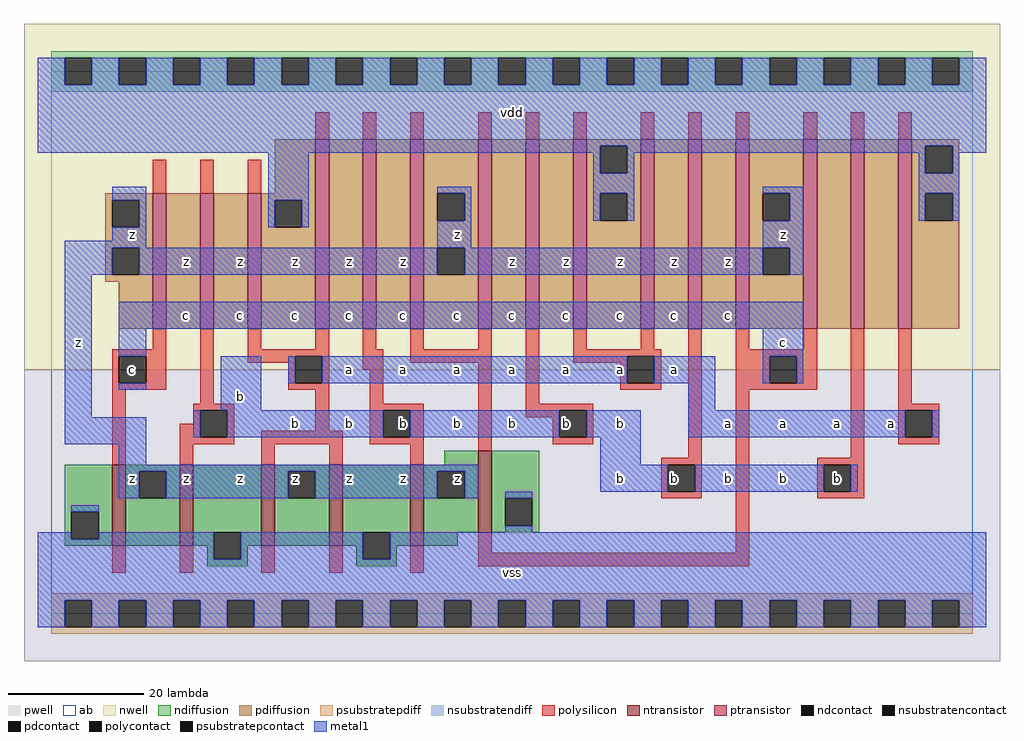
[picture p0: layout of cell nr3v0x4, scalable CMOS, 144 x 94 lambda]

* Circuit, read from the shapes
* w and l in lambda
.subckt nr3v0x4 a b c vdd vss z
M1 z c vss vss nfet w=12 l=2 m=2
M2 vss b z vss nfet w=12 l=2 m=2
M3 z a vss vss nfet w=12 l=2 m=2
M4 n1 c z vdd pfet w=20 l=2
M5 n2 b n1 vdd pfet w=20 l=2
M6 vdd a n2 vdd pfet w=20 l=2
M7 n3 a vdd vdd pfet w=28 l=2
M8 n4 b n3 vdd pfet w=28 l=2
M9 z c n4 vdd pfet w=28 l=2
M10 n5 c z vdd pfet w=28 l=2
M11 n6 b n5 vdd pfet w=28 l=2
M12 vdd a n6 vdd pfet w=28 l=2
M13 n7 a vdd vdd pfet w=28 l=2
M14 n8 b n7 vdd pfet w=28 l=2
M15 z c n8 vdd pfet w=28 l=2
M16 n9 c z vdd pfet w=28 l=2
M17 n10 b n9 vdd pfet w=28 l=2
M18 vdd a n10 vdd pfet w=28 l=2
.ends

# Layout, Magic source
magic
tech scmos
<< ab >>
rect 0 0 136 80
<< pwell >>
rect -4 -7 140 36
<< nwell >>
rect -4 36 140 87
<< polysilicon >>
rect 39 70 41 74
rect 46 70 48 74
rect 53 70 55 74
rect 63 70 65 74
rect 70 70 72 74
rect 77 70 79 74
rect 87 70 89 74
rect 94 70 96 74
rect 101 70 103 74
rect 111 70 113 74
rect 118 70 120 74
rect 125 70 127 74
rect 15 62 17 67
rect 22 62 24 67
rect 29 62 31 67
rect 15 39 17 42
rect 9 38 17 39
rect 9 34 10 38
rect 14 34 17 38
rect 9 33 17 34
rect 9 22 11 33
rect 22 31 24 42
rect 29 39 31 42
rect 39 39 41 42
rect 29 38 41 39
rect 29 37 36 38
rect 35 34 36 37
rect 40 34 41 38
rect 46 39 48 42
rect 53 39 55 42
rect 63 39 65 42
rect 46 36 49 39
rect 53 37 65 39
rect 35 33 41 34
rect 21 30 27 31
rect 21 28 22 30
rect 19 26 22 28
rect 26 26 27 30
rect 39 27 41 33
rect 47 31 49 36
rect 47 30 55 31
rect 19 25 27 26
rect 31 25 43 27
rect 47 26 49 30
rect 53 26 55 30
rect 47 25 55 26
rect 19 22 21 25
rect 31 22 33 25
rect 41 22 43 25
rect 53 22 55 25
rect 63 24 65 37
rect 70 31 72 42
rect 77 39 79 42
rect 87 39 89 42
rect 77 38 90 39
rect 77 37 85 38
rect 84 34 85 37
rect 89 34 90 38
rect 84 33 90 34
rect 70 30 80 31
rect 70 29 75 30
rect 74 26 75 29
rect 79 26 80 30
rect 74 25 80 26
rect 9 6 11 10
rect 19 6 21 10
rect 31 6 33 10
rect 41 6 43 10
rect 94 23 96 42
rect 90 22 96 23
rect 90 18 91 22
rect 95 18 96 22
rect 90 17 96 18
rect 101 39 103 42
rect 111 39 113 42
rect 101 38 113 39
rect 101 34 106 38
rect 110 34 113 38
rect 101 33 113 34
rect 53 6 55 10
rect 63 9 65 12
rect 101 9 103 33
rect 118 23 120 42
rect 125 31 127 42
rect 125 30 131 31
rect 125 26 126 30
rect 130 26 131 30
rect 125 25 131 26
rect 113 22 120 23
rect 113 18 114 22
rect 118 18 120 22
rect 113 17 120 18
rect 63 7 103 9
<< ndiffusion >>
rect 58 22 63 24
rect 2 15 9 22
rect 2 11 3 15
rect 7 11 9 15
rect 2 10 9 11
rect 11 21 19 22
rect 11 17 13 21
rect 17 17 19 21
rect 11 10 19 17
rect 21 12 31 22
rect 21 10 24 12
rect 23 8 24 10
rect 28 10 31 12
rect 33 21 41 22
rect 33 17 35 21
rect 39 17 41 21
rect 33 10 41 17
rect 43 12 53 22
rect 43 10 46 12
rect 28 8 29 10
rect 23 7 29 8
rect 45 8 46 10
rect 50 10 53 12
rect 55 21 63 22
rect 55 17 57 21
rect 61 17 63 21
rect 55 12 63 17
rect 65 17 72 24
rect 65 13 67 17
rect 71 13 72 17
rect 65 12 72 13
rect 55 10 60 12
rect 50 8 51 10
rect 45 7 51 8
<< pdiffusion >>
rect 33 62 39 70
rect 8 61 15 62
rect 8 57 9 61
rect 13 57 15 61
rect 8 54 15 57
rect 8 50 9 54
rect 13 50 15 54
rect 8 49 15 50
rect 10 42 15 49
rect 17 42 22 62
rect 24 42 29 62
rect 31 61 39 62
rect 31 57 33 61
rect 37 57 39 61
rect 31 42 39 57
rect 41 42 46 70
rect 48 42 53 70
rect 55 62 63 70
rect 55 58 57 62
rect 61 58 63 62
rect 55 54 63 58
rect 55 50 57 54
rect 61 50 63 54
rect 55 42 63 50
rect 65 42 70 70
rect 72 42 77 70
rect 79 69 87 70
rect 79 65 81 69
rect 85 65 87 69
rect 79 62 87 65
rect 79 58 81 62
rect 85 58 87 62
rect 79 42 87 58
rect 89 42 94 70
rect 96 42 101 70
rect 103 62 111 70
rect 103 58 105 62
rect 109 58 111 62
rect 103 54 111 58
rect 103 50 105 54
rect 109 50 111 54
rect 103 42 111 50
rect 113 42 118 70
rect 120 42 125 70
rect 127 69 134 70
rect 127 65 129 69
rect 133 65 134 69
rect 127 62 134 65
rect 127 58 129 62
rect 133 58 134 62
rect 127 42 134 58
<< metal1 >>
rect -2 78 2 82
rect 6 78 10 82
rect 14 78 18 82
rect 22 78 26 82
rect 30 78 34 82
rect 38 78 42 82
rect 46 78 50 82
rect 54 78 58 82
rect 62 78 66 82
rect 70 78 74 82
rect 78 78 82 82
rect 86 78 90 82
rect 94 78 98 82
rect 102 78 106 82
rect 110 78 114 82
rect 118 78 122 82
rect 126 78 130 82
rect 134 78 138 82
rect -2 69 138 78
rect -2 68 81 69
rect 9 61 14 63
rect 13 57 14 61
rect 32 61 38 68
rect 80 65 81 68
rect 85 68 129 69
rect 85 65 86 68
rect 32 57 33 61
rect 37 57 38 61
rect 57 62 62 63
rect 61 58 62 62
rect 80 62 86 65
rect 128 65 129 68
rect 133 68 138 69
rect 133 65 134 68
rect 80 58 81 62
rect 85 58 86 62
rect 105 62 111 63
rect 109 58 111 62
rect 128 62 134 65
rect 128 58 129 62
rect 133 58 134 62
rect 9 55 14 57
rect 2 54 14 55
rect 57 54 62 58
rect 105 54 111 58
rect 2 50 9 54
rect 13 50 57 54
rect 61 50 105 54
rect 109 50 111 54
rect 2 29 6 50
rect 10 42 111 46
rect 10 38 14 42
rect 105 38 111 42
rect 10 33 14 34
rect 25 30 31 38
rect 35 34 36 38
rect 40 34 85 38
rect 89 34 98 38
rect 105 34 106 38
rect 110 34 111 38
rect 94 30 98 34
rect 2 25 14 29
rect 21 26 22 30
rect 26 26 49 30
rect 53 26 75 30
rect 79 26 87 30
rect 94 26 126 30
rect 130 26 131 30
rect 10 22 14 25
rect 81 22 87 26
rect 10 21 63 22
rect 10 17 13 21
rect 17 17 35 21
rect 39 17 57 21
rect 61 17 63 21
rect 81 18 91 22
rect 95 18 114 22
rect 118 18 119 22
rect 67 17 71 18
rect 3 15 7 16
rect -2 11 3 12
rect 67 12 71 13
rect 7 11 24 12
rect -2 8 24 11
rect 28 8 46 12
rect 50 8 138 12
rect -2 2 138 8
rect -2 -2 2 2
rect 6 -2 10 2
rect 14 -2 18 2
rect 22 -2 26 2
rect 30 -2 34 2
rect 38 -2 42 2
rect 46 -2 50 2
rect 54 -2 58 2
rect 62 -2 66 2
rect 70 -2 74 2
rect 78 -2 82 2
rect 86 -2 90 2
rect 94 -2 98 2
rect 102 -2 106 2
rect 110 -2 114 2
rect 118 -2 122 2
rect 126 -2 130 2
rect 134 -2 138 2
<< ntransistor >>
rect 9 10 11 22
rect 19 10 21 22
rect 31 10 33 22
rect 41 10 43 22
rect 53 10 55 22
rect 63 12 65 24
<< ptransistor >>
rect 15 42 17 62
rect 22 42 24 62
rect 29 42 31 62
rect 39 42 41 70
rect 46 42 48 70
rect 53 42 55 70
rect 63 42 65 70
rect 70 42 72 70
rect 77 42 79 70
rect 87 42 89 70
rect 94 42 96 70
rect 101 42 103 70
rect 111 42 113 70
rect 118 42 120 70
rect 125 42 127 70
<< polycontact >>
rect 10 34 14 38
rect 36 34 40 38
rect 22 26 26 30
rect 49 26 53 30
rect 85 34 89 38
rect 75 26 79 30
rect 91 18 95 22
rect 106 34 110 38
rect 126 26 130 30
rect 114 18 118 22
<< ndcontact >>
rect 3 11 7 15
rect 13 17 17 21
rect 24 8 28 12
rect 35 17 39 21
rect 46 8 50 12
rect 57 17 61 21
rect 67 13 71 17
<< pdcontact >>
rect 9 57 13 61
rect 9 50 13 54
rect 33 57 37 61
rect 57 58 61 62
rect 57 50 61 54
rect 81 65 85 69
rect 81 58 85 62
rect 105 58 109 62
rect 105 50 109 54
rect 129 65 133 69
rect 129 58 133 62
<< psubstratepcontact >>
rect 2 -2 6 2
rect 10 -2 14 2
rect 18 -2 22 2
rect 26 -2 30 2
rect 34 -2 38 2
rect 42 -2 46 2
rect 50 -2 54 2
rect 58 -2 62 2
rect 66 -2 70 2
rect 74 -2 78 2
rect 82 -2 86 2
rect 90 -2 94 2
rect 98 -2 102 2
rect 106 -2 110 2
rect 114 -2 118 2
rect 122 -2 126 2
rect 130 -2 134 2
<< nsubstratencontact >>
rect 2 78 6 82
rect 10 78 14 82
rect 18 78 22 82
rect 26 78 30 82
rect 34 78 38 82
rect 42 78 46 82
rect 50 78 54 82
rect 58 78 62 82
rect 66 78 70 82
rect 74 78 78 82
rect 82 78 86 82
rect 90 78 94 82
rect 98 78 102 82
rect 106 78 110 82
rect 114 78 118 82
rect 122 78 126 82
rect 130 78 134 82
<< psubstratepdiff >>
rect 0 2 136 3
rect 0 -2 2 2
rect 6 -2 10 2
rect 14 -2 18 2
rect 22 -2 26 2
rect 30 -2 34 2
rect 38 -2 42 2
rect 46 -2 50 2
rect 54 -2 58 2
rect 62 -2 66 2
rect 70 -2 74 2
rect 78 -2 82 2
rect 86 -2 90 2
rect 94 -2 98 2
rect 102 -2 106 2
rect 110 -2 114 2
rect 118 -2 122 2
rect 126 -2 130 2
rect 134 -2 136 2
rect 0 -3 136 -2
<< nsubstratendiff >>
rect 0 82 136 83
rect 0 78 2 82
rect 6 78 10 82
rect 14 78 18 82
rect 22 78 26 82
rect 30 78 34 82
rect 38 78 42 82
rect 46 78 50 82
rect 54 78 58 82
rect 62 78 66 82
rect 70 78 74 82
rect 78 78 82 82
rect 86 78 90 82
rect 94 78 98 82
rect 102 78 106 82
rect 110 78 114 82
rect 118 78 122 82
rect 126 78 130 82
rect 134 78 136 82
rect 0 77 136 78
<< labels >>
rlabel metal1 12 20 12 20 6 z
rlabel polycontact 12 36 12 36 6 c
rlabel metal1 4 40 4 40 6 z
rlabel metal1 12 56 12 56 6 z
rlabel metal1 20 20 20 20 6 z
rlabel metal1 28 20 28 20 6 z
rlabel ndcontact 36 20 36 20 6 z
rlabel metal1 36 28 36 28 6 b
rlabel metal1 28 32 28 32 6 b
rlabel metal1 28 44 28 44 6 c
rlabel metal1 36 44 36 44 6 c
rlabel metal1 20 44 20 44 6 c
rlabel metal1 20 52 20 52 6 z
rlabel metal1 28 52 28 52 6 z
rlabel metal1 36 52 36 52 6 z
rlabel metal1 44 20 44 20 6 z
rlabel metal1 52 20 52 20 6 z
rlabel ndcontact 60 20 60 20 6 z
rlabel polycontact 52 28 52 28 6 b
rlabel metal1 60 28 60 28 6 b
rlabel metal1 44 28 44 28 6 b
rlabel metal1 44 36 44 36 6 a
rlabel metal1 52 36 52 36 6 a
rlabel metal1 60 36 60 36 6 a
rlabel metal1 52 44 52 44 6 c
rlabel metal1 60 44 60 44 6 c
rlabel metal1 44 44 44 44 6 c
rlabel metal1 44 52 44 52 6 z
rlabel metal1 52 52 52 52 6 z
rlabel metal1 60 56 60 56 6 z
rlabel metal1 68 6 68 6 6 vss
rlabel metal1 84 20 84 20 6 b
rlabel polycontact 76 28 76 28 6 b
rlabel metal1 84 28 84 28 6 b
rlabel metal1 68 28 68 28 6 b
rlabel metal1 68 36 68 36 6 a
rlabel metal1 76 36 76 36 6 a
rlabel metal1 84 36 84 36 6 a
rlabel metal1 76 44 76 44 6 c
rlabel metal1 84 44 84 44 6 c
rlabel metal1 68 44 68 44 6 c
rlabel metal1 68 52 68 52 6 z
rlabel metal1 76 52 76 52 6 z
rlabel metal1 84 52 84 52 6 z
rlabel metal1 68 74 68 74 6 vdd
rlabel polycontact 92 20 92 20 6 b
rlabel metal1 100 20 100 20 6 b
rlabel metal1 108 20 108 20 6 b
rlabel metal1 100 28 100 28 6 a
rlabel metal1 108 28 108 28 6 a
rlabel metal1 92 36 92 36 6 a
rlabel metal1 100 44 100 44 6 c
rlabel metal1 108 40 108 40 6 c
rlabel metal1 92 44 92 44 6 c
rlabel metal1 92 52 92 52 6 z
rlabel metal1 100 52 100 52 6 z
rlabel metal1 108 56 108 56 6 z
rlabel polycontact 116 20 116 20 6 b
rlabel metal1 124 28 124 28 6 a
rlabel metal1 116 28 116 28 6 a
<< end >>
